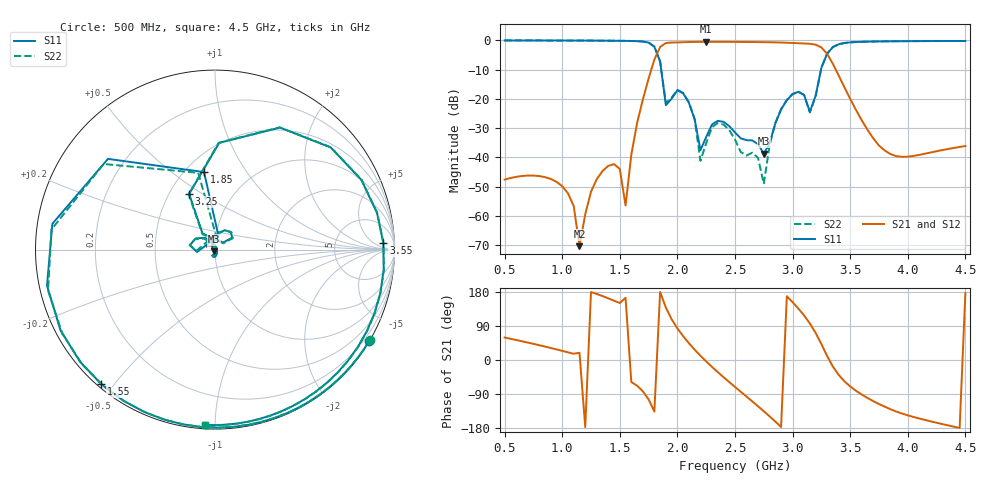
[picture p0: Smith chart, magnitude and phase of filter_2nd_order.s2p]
! 2-port S-parameter data
! S-port 1 net1
! S-port 2 net2
# GHz S DB R 50
!freq dBS11 angS11 dBS21 angS21 dBS12 angS12 dBS22 angS22
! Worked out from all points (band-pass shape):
!   81 points, 500 MHz to 4.5 GHz, reference 50 ohm
!   highest |S21| = -0.48 dB at 2.25 GHz (marker M1); lowest = -70.3 dB at 1.15 GHz (marker M2)
!   |S21| within 3 dB of the highest: 1.835 GHz to 3.275 GHz (1.439 GHz wide, 56.3 % of centre)
!   lowest |S11| = -38.7 dB at 2.75 GHz (marker M3), VSWR 1.02, Z = 49.2 - j0.829 ohm
!   |S11| at or under -10 dB: 1.859 GHz to 3.246 GHz (1.387 GHz wide, 54.3 % of centre)
!   |S22| runs from -49.0 to 0.0 dB; largest |S21 - S12| = 2e-15
!   S11 on the Smith chart (normalised r, x): 500 MHz: 0.01, -3.65; 1.55 GHz: 0.01, -0.46; 1.85 GHz: 0.62, +0.66; 3.25 GHz: 0.63, +0.44; 3.55 GHz: 23, +14; 4.5 GHz: 0.02, -0.94
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0.5  -0.01 -30.6  -47.57 59.3  -47.57 59.3  -0.01 -30.4
1  -0.04 -66.2  -49.82 24.1  -49.82 24.1  -0.04 -65.7
1.15  -0.05 -79.3  -70.32 19.1  -70.32 19.1  -0.05 -78.7
1.2  -0.06 -84.1  -59.44 -177.2  -59.44 -177.2  -0.06 -83.5
1.45  -0.12 -113.7  -42.29 156.4  -42.29 156.4  -0.11 -112.8
1.55  -0.16 -130.1  -56.44 164.1  -56.44 164.1  -0.16 -129.1
1.75  -0.75 171.0  -13.03 -104.0  -13.03 -104.0  -0.74 173.0
1.85  -7.21 98.1  -2.22 179.7  -2.22 179.7  -7.17 102.3
1.9  -22.16 75.3  -0.88 138.1  -0.88 138.1  -21.41 87.3
2  -17.00 169.8  -0.68 83.4  -0.68 83.4  -16.87 170.1
2.15  -27.01 106.7  -0.51 27.2  -0.51 27.2  -26.95 118.5
2.2  -37.50 47.9  -0.49 11.2  -0.49 11.2  -41.13 96.6
2.25  -33.01 -56.8  -0.48 -3.8  -0.48 -3.8  -35.12 -83.7
2.5  -31.46 -109.1  -0.51 -71.0  -0.51 -71.0  -33.93 -126.7
2.75  -38.67 -133.7  -0.60 -135.2  -0.60 -135.2  -49.00 -142.0
2.9  -23.63 95.1  -0.72 -176.8  -0.72 -176.8  -23.48 89.2
3.2  -18.89 127.6  -1.45 71.6  -1.45 71.6  -19.08 129.2
3.25  -9.31 114.9  -2.40 42.0  -2.40 42.0  -9.34 115.4
3.35  -2.27 61.9  -8.02 -17.5  -8.02 -17.5  -2.26 62.1
3.55  -0.55 2.2  -23.73 -81.1  -23.73 -81.1  -0.54 2.3
3.85  -0.31 -39.9  -38.86 -130.0  -38.86 -130.0  -0.30 -39.7
4.5  -0.19 -93.4  -36.10 177.4  -36.10 177.4  -0.19 -93.3
